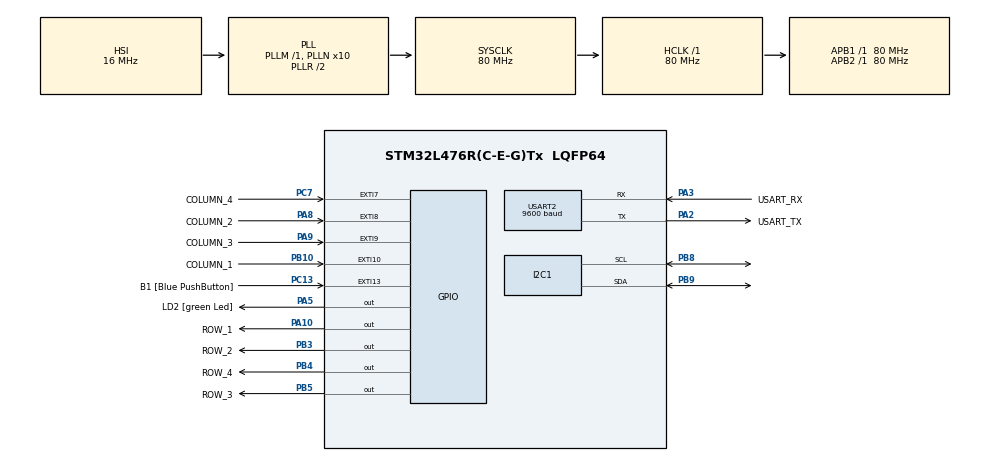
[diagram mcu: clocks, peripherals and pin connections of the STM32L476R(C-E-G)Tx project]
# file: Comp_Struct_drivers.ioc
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I2C1.Timing=0x10909CEC
Mcu.Family=STM32L4
Mcu.Name=STM32L476R(C-E-G)Tx
Mcu.Package=LQFP64
NVIC.EXTI15_10_IRQn=true\:0\:0\:false\:false\:true\:true\:true\:true
NVIC.EXTI9_5_IRQn=true\:0\:0\:false\:false\:true\:true\:true\:true
NVIC.PriorityGroup=NVIC_PRIORITYGROUP_4
NVIC.USART2_IRQn=true\:0\:0\:false\:false\:true\:true\:true\:true
PA10.GPIO_Label=ROW_1
PA10.Signal=GPIO_Output
PA13\ (JTMS-SWDIO).GPIO_Label=TMS
PA13\ (JTMS-SWDIO).Mode=Serial_Wire
PA13\ (JTMS-SWDIO).Signal=SYS_JTMS-SWDIO
PA14\ (JTCK-SWCLK).GPIO_Label=TCK
PA14\ (JTCK-SWCLK).Mode=Serial_Wire
PA14\ (JTCK-SWCLK).Signal=SYS_JTCK-SWCLK
PA2.GPIO_Label=USART_TX
PA2.GPIO_Mode=GPIO_MODE_AF_PP
PA2.GPIO_PuPd=GPIO_NOPULL
PA2.GPIO_Speed=GPIO_SPEED_FREQ_VERY_HIGH
PA2.Mode=Asynchronous
PA2.Signal=USART2_TX
PA3.GPIO_Label=USART_RX
PA3.GPIO_Mode=GPIO_MODE_AF_PP
PA3.GPIO_PuPd=GPIO_NOPULL
PA3.GPIO_Speed=GPIO_SPEED_FREQ_VERY_HIGH
PA3.Mode=Asynchronous
PA3.Signal=USART2_RX
PA5.GPIO_Label=LD2 [green Led]
PA5.GPIO_ModeDefaultOutputPP=GPIO_MODE_OUTPUT_PP
PA5.GPIO_PuPd=GPIO_NOPULL
PA5.GPIO_Speed=GPIO_SPEED_FREQ_LOW
PA5.Signal=GPIO_Output
PA8.GPIO_Label=COLUMN_2
PA8.GPIO_PuPd=GPIO_PULLDOWN
PA8.Signal=GPXTI8
PA9.GPIO_Label=COLUMN_3
PA9.GPIO_PuPd=GPIO_PULLDOWN
PA9.Signal=GPXTI9
PB10.GPIO_Label=COLUMN_1
PB10.GPIO_PuPd=GPIO_PULLDOWN
PB10.Signal=GPXTI10
PB3\ (JTDO-TRACESWO).GPIO_Label=ROW_2
PB3\ (JTDO-TRACESWO).Signal=GPIO_Output
PB4\ (NJTRST).GPIO_Label=ROW_4
PB4\ (NJTRST).Signal=GPIO_Output
PB5.GPIO_Label=ROW_3
PB5.Signal=GPIO_Output
PB8.Mode=I2C
PB8.Signal=I2C1_SCL
PB9.Mode=I2C
PB9.Signal=I2C1_SDA
PC13.GPIO_Label=B1 [Blue PushButton]
PC13.GPIO_ModeDefaultEXTI=GPIO_MODE_IT_FALLING
PC13.GPIO_PuPd=GPIO_NOPULL
PC13.Signal=GPXTI13
PC14-OSC32_IN\ (PC14).Mode=LSE-External-Oscillator
PC14-OSC32_IN\ (PC14).Signal=RCC_OSC32_IN
PC15-OSC32_OUT\ (PC15).Mode=LSE-External-Oscillator
PC15-OSC32_OUT\ (PC15).Signal=RCC_OSC32_OUT
PC7.GPIO_Label=COLUMN_4
PC7.GPIO_PuPd=GPIO_PULLDOWN
PC7.Signal=GPXTI7
PH0-OSC_IN\ (PH0).Signal=RCC_OSC_IN
PH1-OSC_OUT\ (PH1).Signal=RCC_OSC_OUT
ProjectManager.HeapSize=0x200
ProjectManager.StackSize=0x400
ProjectManager.TargetToolchain=STM32CubeIDE
RCC.ADCFreq_Value=64000000
RCC.AHBFreq_Value=80000000
RCC.APB1Freq_Value=80000000
RCC.APB1TimFreq_Value=80000000
RCC.APB2Freq_Value=80000000
RCC.APB2TimFreq_Value=80000000
RCC.CortexFreq_Value=80000000
RCC.HCLKFreq_Value=80000000
RCC.HSE_VALUE=8000000
RCC.HSI_VALUE=16000000
RCC.MSI_VALUE=4000000
RCC.PLLN=10
RCC.PLLSourceVirtual=RCC_PLLSOURCE_HSI
RCC.PREFETCH_ENABLE=1
RCC.SYSCLKFreq_VALUE=80000000
RCC.SYSCLKSource=RCC_SYSCLKSOURCE_PLLCLK
RCC.USBFreq_Value=64000000
RCC.VCOOutputFreq_Value=160000000
USART2.BaudRate=9600
USART2.VirtualMode-Asynchronous=VM_ASYNC
board=NUCLEO-L476RG

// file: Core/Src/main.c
/* USER CODE BEGIN Header */
/**
  ******************************************************************************
  * @file           : main.c
  * @brief          : Main program body
  ******************************************************************************
  * @attention
  *
  * Copyright (c) 2023 STMicroelectronics.
  * All rights reserved.
  *
  * This software is licensed under terms that can be found in the LICENSE file
  * in the root directory of this software component.
  * If no LICENSE file comes with this software, it is provided AS-IS.
  *
  ******************************************************************************
  */
/* USER CODE END Header */
#include "main.h"

/* USER CODE BEGIN Includes */
#include "ring_buffer.h"
#include "keyboard.h"
#include <stdio.h>
#include <string.h>
#include "ssd1306.h"
#include "ssd1306_fonts.h"

/* USER CODE END Includes */

I2C_HandleTypeDef hi2c1;

UART_HandleTypeDef huart2;

/* USER CODE BEGIN PV */
uint8_t rx_buffer[5];
ring_buffer_t ring_buffer_keyboard; //structure that the control variables will have
uint8_t rx_data;

uint16_t key_event = 0xFF; // initializing the columns
uint16_t key_pressed = 0xFF;

int m=30;
/* USER CODE END PV */

void SystemClock_Config(void);
static void MX_GPIO_Init(void);
static void MX_USART2_UART_Init(void);
static void MX_I2C1_Init(void);

/* USER CODE BEGIN 0 */
int _write(int file, char *ptr, int len)
{
  HAL_UART_Transmit(&huart2, (uint8_t *)ptr, len, HAL_MAX_DELAY);
  return len;
}

void HAL_UART_RxCpltCallback(UART_HandleTypeDef *huart)
{
	ring_buffer_put(&ring_buffer_keyboard, rx_data); //manejo de indices y demas cosas
	HAL_UART_Receive_IT(&huart2, &rx_data, 5);
}
/**
  * @brief  EXTI line detection callback.
  * @param  GPIO_Pin Specifies the port pin connected to corresponding EXTI line.
  * @retval None
  */
void HAL_GPIO_EXTI_Callback(uint16_t GPIO_Pin){

	key_event = GPIO_Pin ;

}
/*
 * @brief Resetting values ​​and buffer, ready for a new event
 * @retval None
 */
void reset_all(void)
{
	ring_buffer_reset(&ring_buffer_keyboard);
	memset(rx_buffer, 0, sizeof(rx_buffer)); // Resetting rx_buffer to 0 using memset
	rx_data = 0;
	key_event = 0xFF;
	key_pressed = 0xFf;
}
/*
 * @brief Starting screen
 * @retval None
 */
void display_init(void)
{
	ssd1306_Init();
	ssd1306_Fill(Black); // Color screen
	ssd1306_SetCursor(20, 0);
	ssd1306_WriteString("Welcome", Font_7x10, White); // Text, size, color text
	ssd1306_SetCursor(0, 10);
	ssd1306_WriteString("Enter your password", Font_7x10, White);
	ssd1306_UpdateScreen();
	ssd1306_SetCursor(20, 40);
	ssd1306_WriteString("A = Accept", Font_7x10, White);
	ssd1306_SetCursor(20, 50);
	ssd1306_WriteString("B = Reset", Font_7x10, White);
	ssd1306_UpdateScreen();
}

int main(void)
{

  /* MCU Configuration--------------------------------------------------------*/

  /* Reset of all peripherals, Initializes the Flash interface and the Systick. */
   HAL_Init();

  /* Configure the system clock */
  SystemClock_Config();

  /* Initialize all configured peripherals */
  MX_GPIO_Init();
  MX_USART2_UART_Init();
  MX_I2C1_Init();
  /* USER CODE BEGIN 2 */

  ring_buffer_init(&ring_buffer_keyboard, rx_buffer, 5); // buffer initialization
  //HAL_UART_Receive_IT(&huart2, &rx_data, 1);// cada que llegue un dato lo agragamos a un buffer circular

  /* USER CODE END 2 */

  /* Infinite loop */
  /* USER CODE BEGIN WHILE */

  keyboard_init(); // Initialize the keypad functionality
  display_init(); // Starting screen

  while (1)
  {

	if (key_event != 0xFF)// check if there is a event from the EXTi callback
	{

		uint8_t key_pressed = keyboard_handler(key_event); // call the keypad handler
		printf("Key pressed: %x\r\n", key_pressed);  // print the key pressed
		rx_data = key_pressed;

		ring_buffer_put(&ring_buffer_keyboard, rx_data);/*This function adds a data in the ring buffer*/

		if(ring_buffer_size(&ring_buffer_keyboard)==5)
		{
			/* print the key on the screen */
			char buffer[10]; // Buffer to store the number text string
			snprintf(buffer, sizeof(buffer), "%u", rx_data); // Convert hexadecimal number to a string in decimal format
			ssd1306_SetCursor(m , 20);
			ssd1306_WriteString(buffer, Font_11x18, White);
			ssd1306_UpdateScreen();
			HAL_Delay(500);
			ssd1306_SetCursor(m , 20);
			ssd1306_WriteString("*", Font_11x18, White);
			ssd1306_UpdateScreen();
			m += 10;
		}

		HAL_Delay(600);
		key_event = 0xFF; // clean the event
		keyboard_init();

		if(rx_data == 0x0B) // Press the "B" key to restart the sequence
		{
			m = 30; // initializing the the index where the key starts
			reset_all();
			display_init();
		}
		else if (rx_buffer[4] == 0x0A) // Press the "A" key to continue
			{
				m = 30;
				int numero = 0;
				for (int i = 0; i < 4; i++)
				{
					numero = numero * 10 + (rx_buffer[i]-0); // hex to dec
				}
				printf("La clave es: %u\r\n", numero);

				if (numero == 1998) // year of birth
				{
					ssd1306_Init();
					ssd1306_SetCursor(20, 20);
					ssd1306_WriteString("PASS", Font_16x26, White);
					ssd1306_UpdateScreen();
					HAL_Delay(800);
					reset_all();
					display_init();
				}
				else if (numero != 1998) // year of birth
				{
					ssd1306_Init();
					ssd1306_SetCursor(20, 20);
					ssd1306_WriteString("FAIL", Font_16x26, White);
					ssd1306_UpdateScreen();
					HAL_Delay(800);
					reset_all();
					display_init();
				}
			}
		//If any key "A" or "b" is pressed after entering the password, an error occurs
		else if ((rx_buffer[4] != 0x0A || rx_buffer[4] != 0x0B ) && ring_buffer_size(&ring_buffer_keyboard)==5)
		{
			m = 30;
			ssd1306_Init();
			ssd1306_SetCursor(20, 20);
			ssd1306_WriteString("ERROR", Font_16x26, White);
			ssd1306_UpdateScreen();
			HAL_Delay(800);
			reset_all();
			display_init();
		}

		rx_buffer[4] = 0; // cleaning position 5
  }
    /* USER CODE END WHILE */

  }
}

void SystemClock_Config(void)
{
  RCC_OscInitTypeDef RCC_OscInitStruct = {0};
  RCC_ClkInitTypeDef RCC_ClkInitStruct = {0};

  /** Configure the main internal regulator output voltage
  */
  if (HAL_PWREx_ControlVoltageScaling(PWR_REGULATOR_VOLTAGE_SCALE1) != HAL_OK)
  {
    Error_Handler();
  }

  /** Initializes the RCC Oscillators according to the specified parameters
  * in the RCC_OscInitTypeDef structure.
  */
  RCC_OscInitStruct.OscillatorType = RCC_OSCILLATORTYPE_HSI;
  RCC_OscInitStruct.HSIState = RCC_HSI_ON;
  RCC_OscInitStruct.HSICalibrationValue = RCC_HSICALIBRATION_DEFAULT;
  RCC_OscInitStruct.PLL.PLLState = RCC_PLL_ON;
  RCC_OscInitStruct.PLL.PLLSource = RCC_PLLSOURCE_HSI;
  RCC_OscInitStruct.PLL.PLLM = 1;
  RCC_OscInitStruct.PLL.PLLN = 10;
  RCC_OscInitStruct.PLL.PLLP = RCC_PLLP_DIV7;
  RCC_OscInitStruct.PLL.PLLQ = RCC_PLLQ_DIV2;
  RCC_OscInitStruct.PLL.PLLR = RCC_PLLR_DIV2;
  if (HAL_RCC_OscConfig(&RCC_OscInitStruct) != HAL_OK)
  {
    Error_Handler();
  }

  /** Initializes the CPU, AHB and APB buses clocks
  */
  RCC_ClkInitStruct.ClockType = RCC_CLOCKTYPE_HCLK|RCC_CLOCKTYPE_SYSCLK
                              |RCC_CLOCKTYPE_PCLK1|RCC_CLOCKTYPE_PCLK2;
  RCC_ClkInitStruct.SYSCLKSource = RCC_SYSCLKSOURCE_PLLCLK;
  RCC_ClkInitStruct.AHBCLKDivider = RCC_SYSCLK_DIV1;
  RCC_ClkInitStruct.APB1CLKDivider = RCC_HCLK_DIV1;
  RCC_ClkInitStruct.APB2CLKDivider = RCC_HCLK_DIV1;

  if (HAL_RCC_ClockConfig(&RCC_ClkInitStruct, FLASH_LATENCY_4) != HAL_OK)
  {
    Error_Handler();
  }
}

static void MX_I2C1_Init(void)
{

  hi2c1.Instance = I2C1;
  hi2c1.Init.Timing = 0x10909CEC;
  hi2c1.Init.OwnAddress1 = 0;
  hi2c1.Init.AddressingMode = I2C_ADDRESSINGMODE_7BIT;
  hi2c1.Init.DualAddressMode = I2C_DUALADDRESS_DISABLE;
  hi2c1.Init.OwnAddress2 = 0;
  hi2c1.Init.OwnAddress2Masks = I2C_OA2_NOMASK;
  hi2c1.Init.GeneralCallMode = I2C_GENERALCALL_DISABLE;
  hi2c1.Init.NoStretchMode = I2C_NOSTRETCH_DISABLE;
  if (HAL_I2C_Init(&hi2c1) != HAL_OK)
  {
    Error_Handler();
  }

  /** Configure Analogue filter
  */
  if (HAL_I2CEx_ConfigAnalogFilter(&hi2c1, I2C_ANALOGFILTER_ENABLE) != HAL_OK)
  {
    Error_Handler();
  }

  /** Configure Digital filter
  */
  if (HAL_I2CEx_ConfigDigitalFilter(&hi2c1, 0) != HAL_OK)
  {
    Error_Handler();
  }

}

static void MX_USART2_UART_Init(void)
{

  huart2.Instance = USART2;
  huart2.Init.BaudRate = 9600;
  huart2.Init.WordLength = UART_WORDLENGTH_8B;
  huart2.Init.StopBits = UART_STOPBITS_1;
  huart2.Init.Parity = UART_PARITY_NONE;
  huart2.Init.Mode = UART_MODE_TX_RX;
  huart2.Init.HwFlowCtl = UART_HWCONTROL_NONE;
  huart2.Init.OverSampling = UART_OVERSAMPLING_16;
  huart2.Init.OneBitSampling = UART_ONE_BIT_SAMPLE_DISABLE;
  huart2.AdvancedInit.AdvFeatureInit = UART_ADVFEATURE_NO_INIT;
  if (HAL_UART_Init(&huart2) != HAL_OK)
  {
    Error_Handler();
  }

}

static void MX_GPIO_Init(void)
{
  GPIO_InitTypeDef GPIO_InitStruct = {0};

  /* GPIO Ports Clock Enable */
  __HAL_RCC_GPIOC_CLK_ENABLE();
  __HAL_RCC_GPIOH_CLK_ENABLE();
  __HAL_RCC_GPIOA_CLK_ENABLE();
  __HAL_RCC_GPIOB_CLK_ENABLE();

  /*Configure GPIO pin Output Level */
  HAL_GPIO_WritePin(GPIOA, LD2_Pin|ROW_1_Pin, GPIO_PIN_RESET);

  /*Configure GPIO pin Output Level */
  HAL_GPIO_WritePin(GPIOB, ROW_2_Pin|ROW_4_Pin|ROW_3_Pin, GPIO_PIN_RESET);

  /*Configure GPIO pin : B1_Pin */
  GPIO_InitStruct.Pin = B1_Pin;
  GPIO_InitStruct.Mode = GPIO_MODE_IT_FALLING;
  GPIO_InitStruct.Pull = GPIO_NOPULL;
  HAL_GPIO_Init(B1_GPIO_Port, &GPIO_InitStruct);

  /*Configure GPIO pins : LD2_Pin ROW_1_Pin */
  GPIO_InitStruct.Pin = LD2_Pin|ROW_1_Pin;
  GPIO_InitStruct.Mode = GPIO_MODE_OUTPUT_PP;
  GPIO_InitStruct.Pull = GPIO_NOPULL;
  GPIO_InitStruct.Speed = GPIO_SPEED_FREQ_LOW;
  HAL_GPIO_Init(GPIOA, &GPIO_InitStruct);

  /*Configure GPIO pin : COLUMN_1_Pin */
  GPIO_InitStruct.Pin = COLUMN_1_Pin;
  GPIO_InitStruct.Mode = GPIO_MODE_IT_RISING;
  GPIO_InitStruct.Pull = GPIO_PULLDOWN;
  HAL_GPIO_Init(COLUMN_1_GPIO_Port, &GPIO_InitStruct);

  /*Configure GPIO pin : COLUMN_4_Pin */
  GPIO_InitStruct.Pin = COLUMN_4_Pin;
  GPIO_InitStruct.Mode = GPIO_MODE_IT_RISING;
  GPIO_InitStruct.Pull = GPIO_PULLDOWN;
  HAL_GPIO_Init(COLUMN_4_GPIO_Port, &GPIO_InitStruct);

  /*Configure GPIO pins : COLUMN_2_Pin COLUMN_3_Pin */
  GPIO_InitStruct.Pin = COLUMN_2_Pin|COLUMN_3_Pin;
  GPIO_InitStruct.Mode = GPIO_MODE_IT_RISING;
  GPIO_InitStruct.Pull = GPIO_PULLDOWN;
  HAL_GPIO_Init(GPIOA, &GPIO_InitStruct);

  /*Configure GPIO pins : ROW_2_Pin ROW_4_Pin ROW_3_Pin */
  GPIO_InitStruct.Pin = ROW_2_Pin|ROW_4_Pin|ROW_3_Pin;
  GPIO_InitStruct.Mode = GPIO_MODE_OUTPUT_PP;
  GPIO_InitStruct.Pull = GPIO_NOPULL;
  GPIO_InitStruct.Speed = GPIO_SPEED_FREQ_LOW;
  HAL_GPIO_Init(GPIOB, &GPIO_InitStruct);

  /* EXTI interrupt init*/
  HAL_NVIC_SetPriority(EXTI9_5_IRQn, 0, 0);
  HAL_NVIC_EnableIRQ(EXTI9_5_IRQn);

  HAL_NVIC_SetPriority(EXTI15_10_IRQn, 0, 0);
  HAL_NVIC_EnableIRQ(EXTI15_10_IRQn);

}

void Error_Handler(void)
{
  __disable_irq();
  while (1)
  {
  }
}
